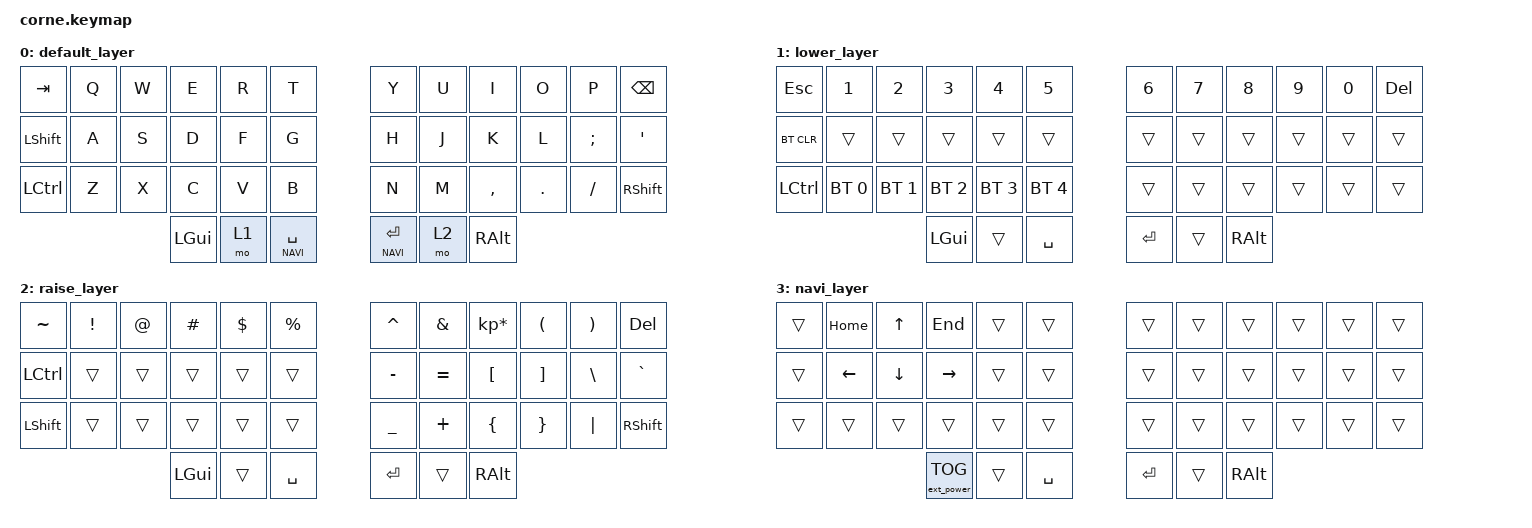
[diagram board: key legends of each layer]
/*
 * Copyright (c) 2020 The ZMK Contributors
 *
 * SPDX-License-Identifier: MIT
 */

#include <behaviors.dtsi>
#include <dt-bindings/zmk/keys.h>
#include <dt-bindings/zmk/bt.h>
#include <dt-bindings/zmk/ext_power.h>

#define NAVI 3

/ {
        keymap {
                compatible = "zmk,keymap";

                default_layer {
// -----------------------------------------------------------------------------------------
// | TAB  |  Q  |  W  |  E  |  R  |  T  |        |  Y       |  U   |  I  |  O  |  P  | BKSP |
// | SHFT |  A  |  S  |  D  |  F  |  G  |        |  H       |  J   |  K  |  L  |  ;  |  '   |
// | CTRL |  Z  |  X  |  C  |  V  |  B  |        |  N       |  M   |  ,  |  .  |  /  | SHFT |
//                    | GUI | LWR | SPC/NAVI |   | ENT/NAVI | RSE  | ALT |
                        bindings = <
   &kp TAB   &kp Q &kp W &kp E &kp R &kp T        &kp Y        &kp U  &kp I     &kp O   &kp P    &kp BSPC
   &kp LSHFT &kp A &kp S &kp D &kp F &kp G        &kp H        &kp J  &kp K     &kp L   &kp SEMI &kp SQT
   &kp LCTRL &kp Z &kp X &kp C &kp V &kp B        &kp N        &kp M  &kp COMMA &kp DOT &kp FSLH &kp RSHFT
                  &kp LGUI &mo 1 &lt NAVI SPACE   &lt NAVI RET &mo 2 &kp RALT
                        >;
                };
                lower_layer {
// -----------------------------------------------------------------------------------------
// | ESC  |  1  |  2  |  3  |  4  |  5  |   |  6  |  7  |  8  |  9  |  0  | DEL  |
// | BTCLR|     |     |     |     |     |    |     |     |     |     |     |      |
// | CTRL | BT1 | BT2 | BT3 | BT4 | BT5 |   |     |     |     |     |     | SHFT |
//                    | GUI |     | SPC |   | ENT |     | ALT |
                        bindings = <
   &kp ESC    &kp N1       &kp N2       &kp N3       &kp N4       &kp N5         &kp N6   &kp N7   &kp N8 &kp N9    &kp N0 &kp DEL
   &bt BT_CLR &trans       &trans       &trans       &trans       &trans         &trans   &trans   &trans &trans    &trans &trans
   &kp LCTRL  &bt BT_SEL 0 &bt BT_SEL 1 &bt BT_SEL 2 &bt BT_SEL 3 &bt BT_SEL 4   &trans   &trans   &trans &trans    &trans &trans
                          	        &kp LGUI     &trans       &kp SPACE      &kp RET  &trans   &kp RALT
                        >;
                };

                raise_layer {
// -----------------------------------------------------------------------------------------
// |  ~   |  !  |  @  |  #  |  $  |  %  |   |  ^  |  &  |  *  |  (  |  )  | DEL  |
// | SHFT |     |     |     |     |     |   |  -  |  =  |  [  |  ]  |  \  |  `   |
// | CTRL |     |     |     |     |     |   |  _  |  +  |  {  |  }  | "|" | SHFT |
//                    | GUI |     | SPC |   | ENT |     | ALT |
                        bindings = <
   &kp TILDE &kp EXCL &kp AT &kp HASH &kp DLLR &kp PRCNT   &kp CARET &kp AMPS  &kp KP_MULTIPLY &kp LPAR &kp RPAR &kp DEL
   &kp LCTRL &trans   &trans &trans   &trans   &trans      &kp MINUS &kp EQUAL &kp LBKT        &kp RBKT &kp BSLH &kp GRAVE
   &kp LSHFT &trans   &trans &trans   &trans   &trans      &kp UNDER &kp PLUS  &kp LBRC        &kp RBRC &kp PIPE &kp RSHFT
                    	     &kp LGUI &trans   &kp SPACE   &kp RET   &trans    &kp RALT
                        >;
                };
                navi_layer {

                        bindings = <
   &trans   &kp HOME &kp UP   &kp END   &trans &trans                   &trans &trans  &trans  &trans  &trans  &trans
   &trans   &kp LEFT &kp DOWN &kp RIGHT &trans &trans                   &trans &trans  &trans  &trans  &trans  &trans
   &trans   &trans   &trans   &trans    &trans &trans                   &trans &trans  &trans  &trans  &trans  &trans
                    	      &ext_power EP_TOG  &trans   &kp SPACE     &kp RET   &trans    &kp RALT
                        >;
                };
        };
};

&nice_view_spi {
    cs-gpios = <&pro_micro 0 GPIO_ACTIVE_HIGH>;
};
